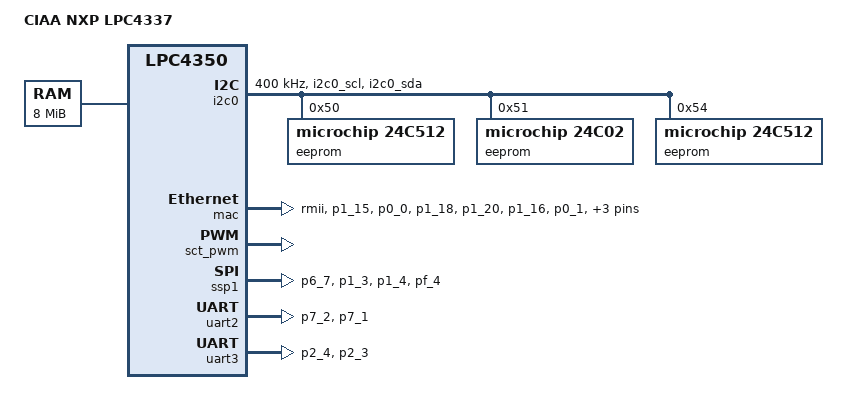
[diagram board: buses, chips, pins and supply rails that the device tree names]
/*
 * CIAA NXP LPC4337 (http://www.proyecto-ciaa.com.ar)
 *
 * Copyright (C) 2015 VanguardiaSur - www.vanguardiasur.com.ar
 *
 * This code is released using a dual license strategy: BSD/GPL
 * You can choose the licence that better fits your requirements.
 *
 * Released under the terms of 3-clause BSD License
 * Released under the terms of GNU General Public License Version 2.0
 */
/dts-v1/;

#include "lpc18xx.dtsi"
#include "lpc4357.dtsi"

#include "dt-bindings/gpio/gpio.h"

/ {
	model = "CIAA NXP LPC4337";
	compatible = "ciaa,lpc4337", "nxp,lpc4337", "nxp,lpc4350";

	aliases {
		serial0 = &uart2;
		serial1 = &uart3;
	};

	chosen {
		bootargs = "console=ttyS0,115200 earlyprintk";
		stdout-path = &uart2;
	};

	memory {
		device_type = "memory";
		reg = <0x28000000 0x0800000>; /* 8 MB */
	};
};

&pinctrl {
	enet_rmii_pins: enet-rmii-pins {
		enet_rmii_rxd_cfg {
			pins = "p1_15", "p0_0";
			function = "enet";
			slew-rate = <1>;
			bias-disable;
			input-enable;
			input-schmitt-disable;
		};

		enet_rmii_txd_cfg {
			pins = "p1_18", "p1_20";
			function = "enet";
			slew-rate = <1>;
			bias-disable;
			input-enable;
			input-schmitt-disable;
		};

		enet_rmii_rx_dv_cfg {
			pins = "p1_16";
			function = "enet";
			bias-disable;
			input-enable;
			input-schmitt-disable;
		};

		enet_rmii_tx_en_cfg {
			pins = "p0_1";
			function = "enet";
			bias-disable;
			input-enable;
			input-schmitt-disable;
		};

		enet_ref_clk_cfg {
			pins = "p1_19";
			function = "enet";
			slew-rate = <1>;
			bias-disable;
			input-enable;
			input-schmitt-disable;
		};

		enet_mdio_cfg {
			pins = "p1_17";
			function = "enet";
			bias-disable;
			input-enable;
			input-schmitt-disable;
		};

		enet_mdc_cfg {
			pins = "p7_7";
			function = "enet";
			slew-rate = <1>;
			bias-disable;
			input-enable;
			input-schmitt-disable;
		};
	};

	i2c0_pins: i2c0-pins {
		i2c0_pins_cfg {
			pins = "i2c0_scl", "i2c0_sda";
			function = "i2c0";
			input-enable;
		};
	};

	ssp_pins: ssp-pins {
		ssp1_cs {
			pins = "p6_7";
			function = "gpio";
			bias-pull-up;
			bias-disable;
		};

		ssp1_miso_mosi {
			pins = "p1_3", "p1_4";
			function = "ssp1";
			slew-rate = <1>;
			bias-pull-down;
			input-enable;
			input-schmitt-disable;
		};

		ssp1_sck {
			pins = "pf_4";
			function = "ssp1";
			slew-rate = <1>;
			bias-disable;
		};
	};

	uart2_pins: uart2-pins {
		uart2_rx_cfg {
			pins = "p7_2";
			function = "uart2";
			bias-disable;
			input-enable;
		};

		uart2_tx_cfg {
			pins = "p7_1";
			function = "uart2";
			bias-disable;
		};
	};

	uart3_pins: uart3-pins {
		uart3_rx_cfg {
			pins = "p2_4";
			function = "uart3";
			bias-disable;
			input-enable;
		};

		uart3_tx_cfg {
			pins = "p2_3";
			function = "uart3";
			bias-disable;
		};
	};
};

&enet_tx_clk {
	clock-frequency = <50000000>;
};

&i2c0 {
	status = "okay";
	pinctrl-names = "default";
	pinctrl-0 = <&i2c0_pins>;
	clock-frequency = <400000>;

	eeprom@50 {
		compatible = "microchip,24c512";
		reg = <0x50>;
	};

	eeprom@51 {
		compatible = "microchip,24c02";
		reg = <0x51>;
	};

	eeprom@54 {
		compatible = "microchip,24c512";
		reg = <0x54>;
	};
};

&mac {
	status = "okay";
	phy-mode = "rmii";
	pinctrl-names = "default";
	pinctrl-0 = <&enet_rmii_pins>;
};

&sct_pwm {
	status = "okay";
};

&ssp1 {
	status = "okay";
	pinctrl-names = "default";
	pinctrl-0 = <&ssp_pins>;
	cs-gpios = <&gpio LPC_GPIO(5,15) GPIO_ACTIVE_HIGH>;
	num-cs = <1>;
};

&uart2 {
	status = "okay";
	pinctrl-names = "default";
	pinctrl-0 = <&uart2_pins>;
};

&uart3 {
	status = "okay";
	pinctrl-names = "default";
	pinctrl-0 = <&uart3_pins>;
};
